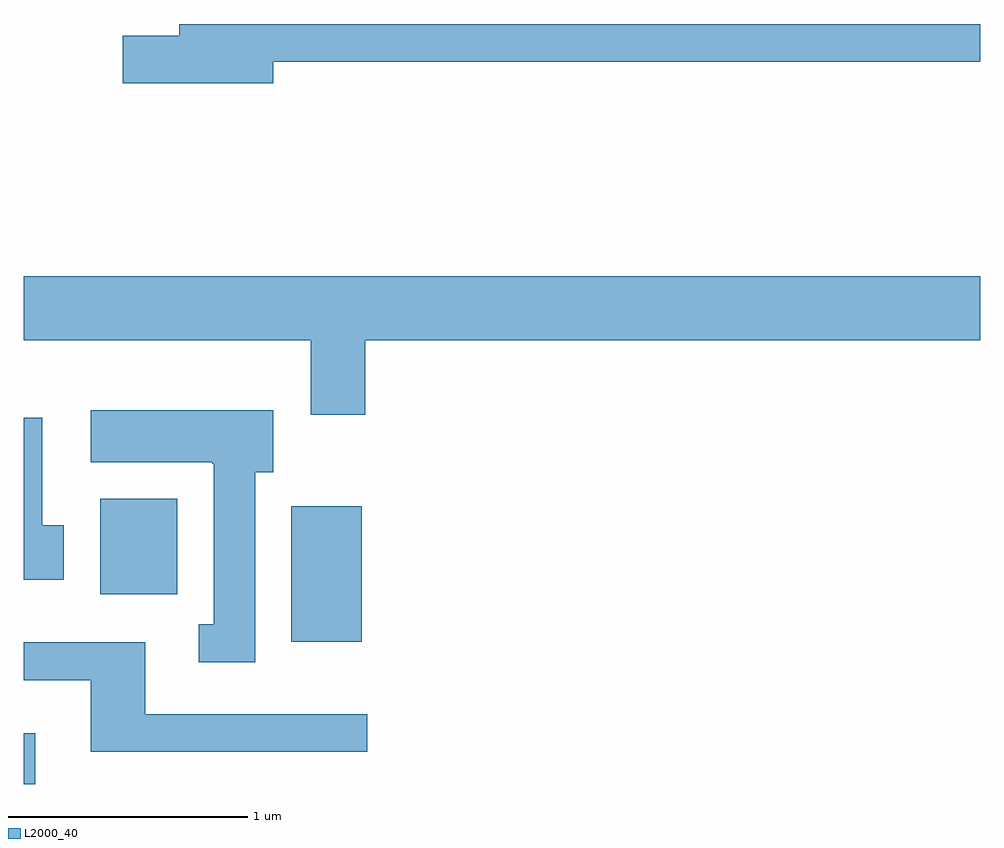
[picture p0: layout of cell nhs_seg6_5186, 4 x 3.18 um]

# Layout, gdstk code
import gdstk
lib = gdstk.Library(unit=1e-6, precision=1e-09)
def R(c, l, rs):  # rectangles x0, y0, x1, y1
    for r in rs: c.add(gdstk.rectangle(r[:2], r[2:], *l))
def P(c, l, *ps):  # polygons
    for p in ps: c.add(gdstk.Polygon(p, *l))
L2000_40 = (2000, 40)

nhs_seg6_5186 = lib.new_cell('nhs_seg6_5186')
R(nhs_seg6_5186, L2000_40, [(343.611,1568.162,343.659,1568.374), (344.731,1568.756,345.024,1569.324), (343.931,1568.956,344.254,1569.354)])
P(nhs_seg6_5186, L2000_40, [(344.654,1571.181),(347.611,1571.181),(347.611,1571.339),(344.261,1571.339),(344.261,1571.289),(344.026,1571.289),(344.026,1571.091),(344.654,1571.091)],
  [(345.039,1570.016),(347.611,1570.016),(347.611,1570.284),(343.611,1570.284),(343.611,1570.016),(344.811,1570.016),(344.811,1569.706),(345.039,1569.706)],
  [(344.579,1569.466),(344.654,1569.466),(344.654,1569.724),(343.891,1569.724),(343.891,1569.506),(344.4,1569.506),(344.4,1569.5),(344.406,1569.5),(344.406,1568.829),(344.343,1568.829),(344.343,1568.671),(344.579,1568.671)],
  [(343.779,1569.244),(343.689,1569.244),(343.689,1569.694),(343.611,1569.694),(343.611,1569.016),(343.779,1569.016)],
  [(345.048,1568.454),(344.119,1568.454),(344.119,1568.754),(343.611,1568.754),(343.611,1568.596),(343.891,1568.596),(343.891,1568.296),(345.048,1568.296)])

lib.write_gds('nhs_seg6_5186.gds')
